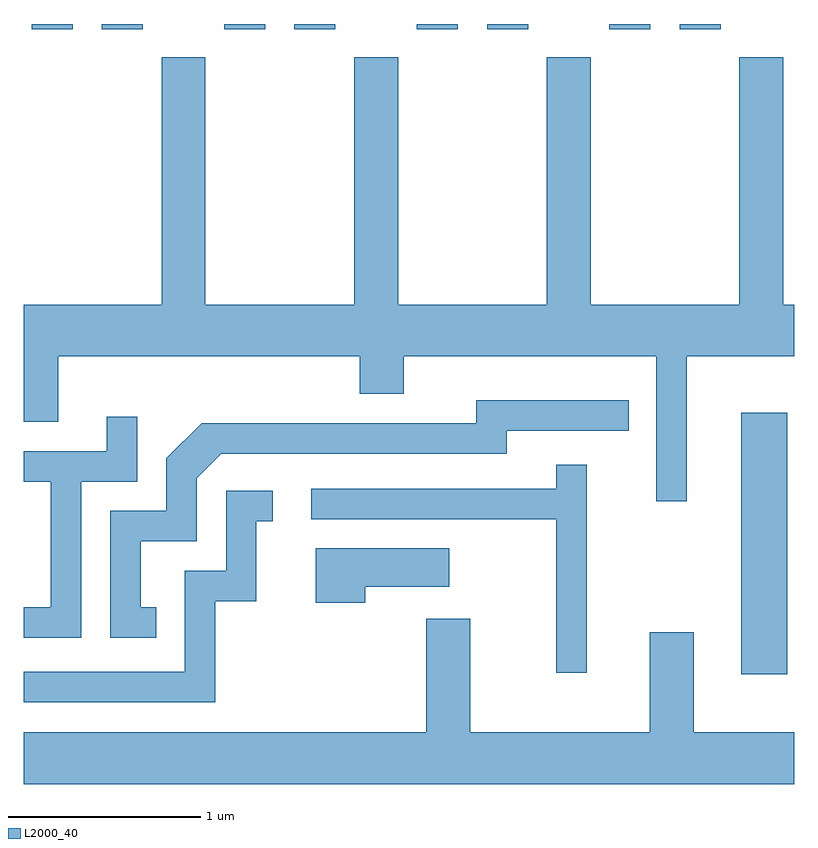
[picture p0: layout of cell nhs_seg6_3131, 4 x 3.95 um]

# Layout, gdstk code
import gdstk
lib = gdstk.Library(unit=1e-6, precision=1e-09)
def R(c, l, rs):  # rectangles x0, y0, x1, y1
    for r in rs: c.add(gdstk.rectangle(r[:2], r[2:], *l))
def P(c, l, *ps):  # polygons
    for p in ps: c.add(gdstk.Polygon(p, *l))
L2000_40 = (2000, 40)

nhs_seg6_3131 = lib.new_cell('nhs_seg6_3131')
R(nhs_seg6_3131, L2000_40, [(283.336,1592.786,283.574,1594.144), (279.651,1596.136,279.864,1596.162), (280.016,1596.136,280.229,1596.162), (280.651,1596.136,280.864,1596.162), (281.016,1596.136,281.229,1596.162), (281.651,1596.136,281.864,1596.162), (282.016,1596.136,282.229,1596.162), (282.651,1596.136,282.864,1596.162), (283.016,1596.136,283.229,1596.162)])
P(nhs_seg6_3131, L2000_40, [(283.054,1594.436),(283.611,1594.436),(283.611,1594.704),(283.554,1594.704),(283.554,1595.989),(283.326,1595.989),(283.326,1594.704),(282.554,1594.704),(282.554,1595.989),(282.326,1595.989),(282.326,1594.704),(281.554,1594.704),(281.554,1595.989),(281.326,1595.989),(281.326,1594.704),(280.554,1594.704),(280.554,1595.989),(280.326,1595.989),(280.326,1594.704),(279.611,1594.704),(279.611,1594.096),(279.789,1594.096),(279.789,1594.436),(281.356,1594.436),(281.356,1594.241),(281.584,1594.241),(281.584,1594.436),(282.896,1594.436),(282.896,1593.683),(283.054,1593.683)],
  [(280.298,1593.134),(280.219,1593.134),(280.219,1593.476),(280.509,1593.476),(280.509,1593.804),(280.637,1593.931),(282.119,1593.931),(282.119,1594.051),(282.753,1594.051),(282.753,1594.209),(281.961,1594.209),(281.961,1594.089),(280.534,1594.089),(280.351,1593.907),(280.351,1593.634),(280.061,1593.634),(280.061,1592.976),(280.298,1592.976)],
  [(279.909,1593.786),(280.199,1593.786),(280.199,1594.123),(280.041,1594.123),(280.041,1593.944),(279.611,1593.944),(279.611,1593.786),(279.751,1593.786),(279.751,1593.134),(279.611,1593.134),(279.611,1592.976),(279.909,1592.976)],
  [(282.534,1593.873),(282.376,1593.873),(282.376,1593.749),(281.103,1593.749),(281.103,1593.591),(282.376,1593.591),(282.376,1592.793),(282.534,1592.793)],
  [(280.604,1593.166),(280.819,1593.166),(280.819,1593.581),(280.903,1593.581),(280.903,1593.739),(280.661,1593.739),(280.661,1593.324),(280.446,1593.324),(280.446,1592.799),(279.611,1592.799),(279.611,1592.641),(280.604,1592.641)],
  [(281.384,1593.241),(281.819,1593.241),(281.819,1593.439),(281.126,1593.439),(281.126,1593.156),(281.384,1593.156)],
  [(283.611,1592.484),(283.089,1592.484),(283.089,1593.004),(282.861,1593.004),(282.861,1592.484),(281.929,1592.484),(281.929,1593.074),(281.701,1593.074),(281.701,1592.484),(279.611,1592.484),(279.611,1592.216),(283.611,1592.216)])

lib.write_gds('nhs_seg6_3131.gds')
